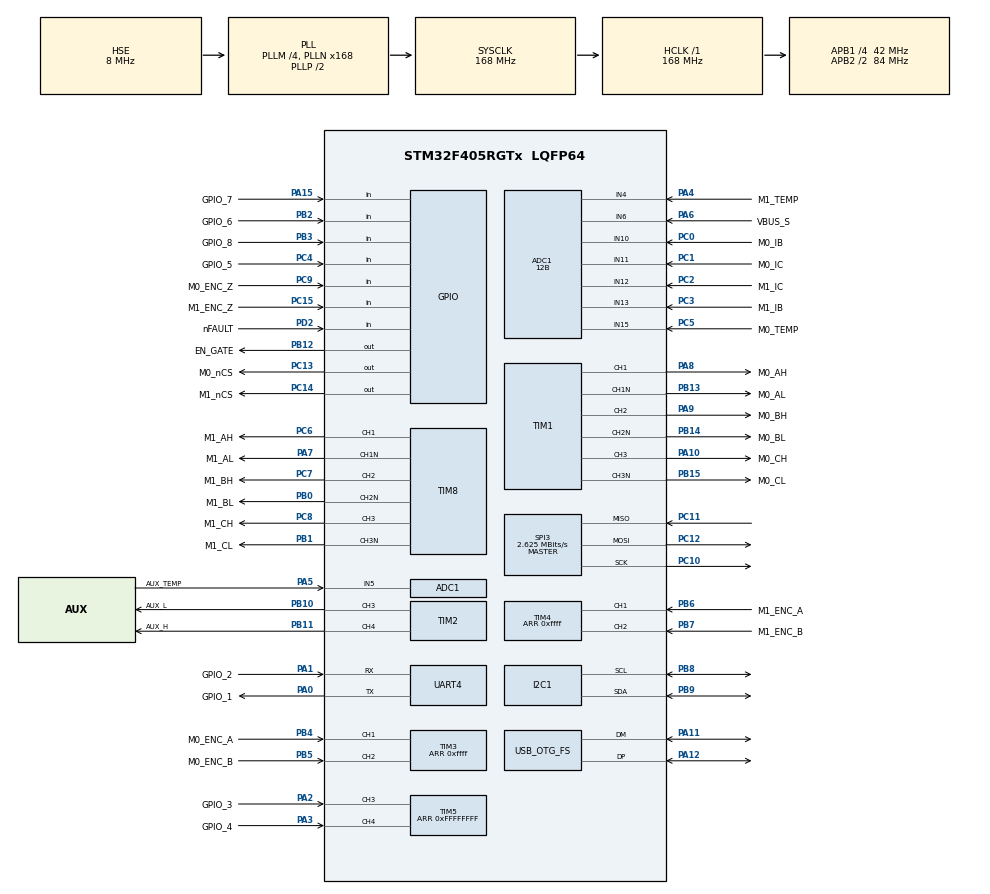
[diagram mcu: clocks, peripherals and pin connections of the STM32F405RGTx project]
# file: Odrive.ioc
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PH0-OSC_IN.Signal=RCC_OSC_IN
SPI3.Direction=SPI_DIRECTION_2LINES
SPI3.VirtualType=VM_MASTER
NVIC.I2C1_EV_IRQn=true\:5\:0\:false\:false\:true\:true\:true\:true
ADC3.ExternalTrigInjecConv=ADC_EXTERNALTRIGINJECCONV_T1_TRGO
ADC3.ExternalTrigInjecConvEdge=ADC_EXTERNALTRIGINJECCONVEDGE_RISING
NVIC.DMA1_Stream2_IRQn=true\:5\:0\:false\:false\:true\:true\:true\:true
PC12.Signal=SPI3_MOSI
USB_DEVICE.PID_CDC_FS=0x0D32
PB14.GPIO_Label=M0_BL
PC6.GPIO_Label=M1_AH
ADC2.InjectedOffset-1\#ChannelInjectedConversion=0
PA6.GPIO_Label=VBUS_S
PB6.GPIO_Label=M1_ENC_A
PB13.Signal=TIM1_CH1N
PC15-OSC32_OUT.GPIO_Label=M1_ENC_Z
TIM8.OffStateIDLEMode=TIM_OSSI_ENABLE
RCC.SYSCLKSource=RCC_SYSCLKSOURCE_PLLCLK
Dma.SPI3_RX.4.Instance=DMA1_Stream0
USB_OTG_FS.vbus_sensing_enable=DISABLE
Dma.I2C1_TX.6.PeriphInc=DMA_PINC_DISABLE
ADC3.Rank-7\#ChannelRegularConversion=1
NVIC.TIM5_IRQn=true\:5\:0\:false\:false\:true\:true\:true\:true
RCC.APB2TimFreq_Value=84000000
PB6.Signal=S_TIM4_CH1
PC7.Signal=S_TIM8_CH2
ADC1.InjNumberOfConversion=1
PC3.Signal=ADCx_IN13
ADC3.ScanConvMode=DISABLE
ADC2.EOCSelection=ADC_EOC_SINGLE_CONV
PA1.GPIO_PuPd=GPIO_NOPULL
Dma.UART4_TX.1.FIFOMode=DMA_FIFOMODE_DISABLE
NVIC.TIM8_TRG_COM_TIM14_IRQn=true\:0\:0\:false\:false\:true\:false\:false\:true
PB2.Signal=GPIO_Input
ADC1.ScanConvMode=DISABLE
TIM2.OCMode_PWM-PWM\ Generation3\ CH3=TIM_OCMODE_PWM2
PC13-ANTI_TAMP.Signal=GPIO_Output
SH.ADCx_IN15.1=ADC2_IN15,IN15
SH.ADCx_IN15.0=ADC1_IN15,IN15
PB12.GPIO_Label=EN_GATE
ADC3.ExternalTrigConv=ADC_EXTERNALTRIGCONV_T8_TRGO
ADC3.InjectedConvMode=None
Dma.ADC1.2.MemDataAlignment=DMA_MDATAALIGN_HALFWORD
PC4.GPIO_Label=GPIO_5
USB_DEVICE.MANUFACTURER_STRING-CDC_FS=ODrive Robotics
PB14.Mode=PWM Generation2 CH2 CH2N
PB9.Stacked=true
PB1.GPIO_Label=M1_CL
TIM1.DeadTime=TIM_1_8_DEADTIME_CLOCKS
ADC3.ContinuousConvMode=DISABLE
TIM1.OCMode_PWM-PWM\ Generation1\ CH1\ CH1N=TIM_OCMODE_PWM2
ADC2.EnableAnalogWatchDog=false
Dma.ADC1.2.Direction=DMA_PERIPH_TO_MEMORY
SH.S_TIM4_CH2.0=TIM4_CH2,Encoder_Interface
PA8.Signal=S_TIM1_CH1
ADC1.InjectedConvMode=None
Dma.UART4_RX.0.PeriphDataAlignment=DMA_PDATAALIGN_BYTE
TIM4.Period=0xffff
USB_DEVICE.VID-CDC_FS=0x1209
VP_FREERTOS_VS_CMSIS_V1.Mode=CMSIS_V1
VP_SYS_VS_tim14.Mode=TIM14
VP_TIM1_VS_ClockSourceINT.Mode=Internal
ADC1.SamplingTime-0\#ChannelRegularConversion=ADC_SAMPLETIME_3CYCLES
Mcu.Package=LQFP64
PB9.Signal=SharedStack_PB9
PB1.Signal=TIM8_CH3N
NVIC.TimeBase=TIM8_TRG_COM_TIM14_IRQn
SPI3.Mode=SPI_MODE_MASTER
SH.SharedStack_PB9.1=I2C1_SDA,I2C
SH.SharedStack_PB9.0=CAN1_TX
NVIC.TimeBaseIP=TIM14
TIM1.OCMode_PWM-PWM\ Generation3\ CH3\ CH3N=TIM_OCMODE_PWM2
PA10.Signal=S_TIM1_CH3
PC11.Mode=Full_Duplex_Master
ADC1.Rank-1\#ChannelInjectedConversion=1
ADC3.DMAContinuousRequests=DISABLE
RCC.APB2CLKDivider=RCC_HCLK_DIV2
SH.S_TIM4_CH1.0=TIM4_CH1,Encoder_Interface
Dma.SPI3_RX.4.Direction=DMA_PERIPH_TO_MEMORY
ADC3.ExternalTrigConvEdge=ADC_EXTERNALTRIGCONVEDGE_RISING
RCC.APB1TimFreq_Value=84000000
TIM5.ICFilter_CH4=15
TIM5.ICFilter_CH3=15
TIM1.OCMode_PWM-PWM\ Generation2\ CH2\ CH2N=TIM_OCMODE_PWM2
TIM1.Period=TIM_1_8_PERIOD_CLOCKS
PB13.Mode=PWM Generation1 CH1 CH1N
ADC2.ExternalTrigInjecConvEdge=ADC_EXTERNALTRIGINJECCONVEDGE_RISING
NVIC.DMA1_Stream6_IRQn=true\:5\:0\:false\:false\:true\:true\:false\:true
TIM2.OCMode_PWM-PWM\ Generation4\ CH4=TIM_OCMODE_PWM2
PA4.GPIO_Label=M1_TEMP
ADC1.EOCSelection=ADC_EOC_SINGLE_CONV
ADC2.ScanConvMode=DISABLE
Dma.ADC1.2.Mode=DMA_CIRCULAR
NVIC.UART4_IRQn=true\:5\:0\:false\:false\:true\:true\:true\:true
SH.S_TIM8_CH3.0=TIM8_CH3,PWM Generation3 CH3 CH3N
Dma.UART4_RX.0.MemInc=DMA_MINC_ENABLE
Dma.SPI3_TX.3.Mode=DMA_NORMAL
TIM8.OffStateRunMode=TIM_OSSR_ENABLE
SH.SharedStack_PB8.0=CAN1_RX
SH.SharedStack_PB8.1=I2C1_SCL,I2C
FREERTOS.Tasks01=defaultTask,0,128,StartDefaultTask,Default,NULL,Dynamic,NULL,NULL
ADC1.Rank-0\#ChannelRegularConversion=1
PD2.GPIO_PuPd=GPIO_PULLUP
TIM5.Channel-Input_Capture4_from_TI4=TIM_CHANNEL_4
SH.ADCx_IN6.0=ADC1_IN6,IN6
PC13-ANTI_TAMP.GPIO_Label=M0_nCS
SH.ADCx_IN6.1=ADC2_IN6,IN6
TIM1.CounterMode=TIM_COUNTERMODE_CENTERALIGNED3
PA9.GPIO_Label=M0_BH
TIM8.Channel-Output\ Compare4\ No\ Output=TIM_CHANNEL_4
FREERTOS.INCLUDE_vTaskDelayUntil=1
Dma.UART4_RX.0.Mode=DMA_CIRCULAR
FREERTOS.configCHECK_FOR_STACK_OVERFLOW=1
PC6.Signal=S_TIM8_CH1
PC2.Signal=ADCx_IN12
PB11.GPIO_Label=AUX_H
TIM4.IC2Filter=4
TIM1.Channel-PWM\ Generation1\ CH1\ CH1N=TIM_CHANNEL_1
ADC2.Channel-1\#ChannelInjectedConversion=ADC_CHANNEL_10
TIM2.OCPolarity_3=TIM_OCPOLARITY_LOW
ADC1.ExternalTrigConvEdge=ADC_EXTERNALTRIGCONVEDGE_NONE
PC0.Signal=ADCx_IN10
RCC.APB1CLKDivider=RCC_HCLK_DIV4
UART4.VirtualMode=Asynchronous
PC14-OSC32_IN.Signal=GPIO_Output
SH.S_TIM8_CH2.0=TIM8_CH2,PWM Generation2 CH2 CH2N
PC13-ANTI_TAMP.PinState=GPIO_PIN_SET
ADC3.Resolution=ADC_RESOLUTION_12B
PA0-WKUP.GPIO_Label=GPIO_1
PA0-WKUP.Signal=SharedStack_PA0
Dma.I2C1_RX.5.MemDataAlignment=DMA_MDATAALIGN_BYTE
TIM1.Channel-PWM\ Generation2\ CH2\ CH2N=TIM_CHANNEL_2
Dma.ADC1.2.MemInc=DMA_MINC_ENABLE
PA8.GPIO_Label=M0_AH
ADC2.ContinuousConvMode=DISABLE
Dma.UART4_TX.1.Instance=DMA1_Stream4
TIM3.IC2Filter=4
USB_DEVICE.PRODUCT_STRING_CDC_FS=ODrive v3.3
USB_DEVICE.APP_TX_DATA_SIZE-CDC_FS=64
VP_ARM.CMSIS_VS_CMSISJjDSP_1.7.0.Mode=CMSISJjDSP
PA9.Signal=S_TIM1_CH2
TIM1.Channel-PWM\ Generation3\ CH3\ CH3N=TIM_CHANNEL_3
ADC1.Channel-1\#ChannelInjectedConversion=ADC_CHANNEL_6
ADC3.NbrOfConversion=1
Dma.UART4_RX.0.PeriphInc=DMA_PINC_DISABLE
Dma.I2C1_TX.6.FIFOMode=DMA_FIFOMODE_DISABLE
SPI3.FirstBit=SPI_FIRSTBIT_MSB
PB10.Signal=S_TIM2_CH3
ARM.CMSIS.5.6.0.CMSISJjCORE=true
PB14.Signal=TIM1_CH2N
PA5.Signal=ADCx_IN5
Dma.SPI3_RX.4.FIFOMode=DMA_FIFOMODE_DISABLE
TIM3.IC1Filter=4
SH.S_TIM8_CH1.0=TIM8_CH1,PWM Generation1 CH1 CH1N
PC12.Mode=Full_Duplex_Master
Dma.I2C1_TX.6.Instance=DMA1_Stream6
VP_ARM.CMSIS_VS_CMSISJjCORE_5.3.0.Mode=CMSISJjCORE
ADC3.SamplingTime-8\#ChannelInjectedConversion=ADC_SAMPLETIME_3CYCLES
Dma.SPI3_TX.3.FIFOMode=DMA_FIFOMODE_DISABLE
TIM13.Period=(2 * TIM_1_8_PERIOD_CLOCKS * (TIM_1_8_RCR+1)) * (TIM_APB1_CLOCK_HZ / TIM_1_8_CLOCK_HZ)
Dma.UART4_RX.0.FIFOMode=DMA_FIFOMODE_DISABLE
TIM1.TIM_MasterOutputTrigger=TIM_TRGO_UPDATE
VP_TIM13_VS_ClockSourceINT.Mode=Enable_Timer
Dma.SPI3_TX.3.Direction=DMA_MEMORY_TO_PERIPH
Dma.SPI3_RX.4.PeriphInc=DMA_PINC_DISABLE
PB4.GPIO_Label=M0_ENC_A
PB15.GPIO_Label=M0_CL
ADC1.InjectedOffset-1\#ChannelInjectedConversion=0
SH.ADCx_IN4.1=ADC2_IN4,IN4
PA1.GPIO_Label=GPIO_2
SH.ADCx_IN4.0=ADC1_IN4,IN4
ADC1.DMAContinuousRequests=DISABLE
TIM2.Period=TIM_APB1_PERIOD_CLOCKS
PA13.Mode=Serial_Wire
TIM8.RepetitionCounter=TIM_1_8_RCR
ADC2.Resolution=ADC_RESOLUTION_12B
Dma.ADC1.2.Instance=DMA2_Stream0
ADC1.ExternalTrigConv=ADC_SOFTWARE_START
TIM8.Period=TIM_1_8_PERIOD_CLOCKS
PC7.GPIO_Label=M1_BH
RCC.APB2TimCLKDivider=1
PA4.Signal=ADCx_IN4
PB5.Signal=S_TIM3_CH2
ADC1.master=1
PA5.GPIO_Label=AUX_TEMP
ADC2.NbrOfConversionFlag=1
TIM8.TIM_MasterOutputTrigger=TIM_TRGO_UPDATE
PA11.Signal=USB_OTG_FS_DM
ProjectManager.HeapSize=0x3C00
PB1.Mode=PWM Generation3 CH3 CH3N
ADC3.EOCSelection=ADC_EOC_SINGLE_CONV
Dma.ADC1.2.FIFOMode=DMA_FIFOMODE_DISABLE
NVIC.TIM1_UP_TIM10_IRQn=true\:0\:0\:false\:false\:false\:false\:true\:true
NVIC.TIM8_UP_TIM13_IRQn=true\:0\:0\:false\:false\:false\:false\:true\:true
SH.ADCx_IN5.0=ADC1_IN5,IN5
SH.ADCx_IN5.1=ADC2_IN5,IN5
NVIC.PriorityGroup=NVIC_PRIORITYGROUP_4
Dma.UART4_RX.0.Instance=DMA1_Stream2
Dma.UART4_TX.1.MemDataAlignment=DMA_MDATAALIGN_BYTE
Dma.SPI3_TX.3.Instance=DMA1_Stream7
PC3.GPIO_Label=M1_IB
PA0-WKUP.GPIO_PuPd=GPIO_PULLDOWN
TIM2.Pulse-PWM\ Generation4\ CH4=TIM_APB1_PERIOD_CLOCKS+1
ADC3.Rank-8\#ChannelInjectedConversion=1
PD2.Signal=GPIO_Input
PB0.Signal=TIM8_CH2N
PC1.Signal=ADCx_IN11
PD2.GPIO_Label=nFAULT
TIM8.CounterMode=TIM_COUNTERMODE_CENTERALIGNED3
ADC3.EnableAnalogWatchDog=false
Dma.UART4_TX.1.Direction=DMA_MEMORY_TO_PERIPH
Mcu.Family=STM32F4
Dma.UART4_TX.1.PeriphDataAlignment=DMA_PDATAALIGN_BYTE
ADC2.ExternalTrigConv=ADC_EXTERNALTRIGCONV_T8_TRGO
USB_DEVICE.CLASS_NAME_FS=CDC
RCC.CortexFreq_Value=168000000
Dma.SPI3_TX.3.MemDataAlignment=DMA_MDATAALIGN_HALFWORD
ADC1.ContinuousConvMode=DISABLE
ADC2.Channel-0\#ChannelRegularConversion=ADC_CHANNEL_13
TIM1.RepetitionCounter=TIM_1_8_RCR
ADC3.SamplingTime-7\#ChannelRegularConversion=ADC_SAMPLETIME_3CYCLES
ADC2.InjectedConvMode=None
PC10.Signal=SPI3_SCK
Dma.I2C1_TX.6.MemDataAlignment=DMA_MDATAALIGN_BYTE
TIM4.EncoderMode=TIM_ENCODERMODE_TI12
TIM3.EncoderMode=TIM_ENCODERMODE_TI12
PC0.GPIO_Label=M0_IB
PA11.Mode=Device_Only
PB0.GPIO_Label=M1_BL
USB_DEVICE.VirtualMode-CDC_FS=Cdc
PB13.GPIO_Label=M0_AL
PB11.Signal=S_TIM2_CH4
NVIC.DMA1_Stream4_IRQn=true\:5\:0\:false\:false\:true\:true\:false\:true
PB15.Signal=TIM1_CH3N
ADC2.DiscontinuousConvMode=DISABLE
ProjectManager.StackSize=0x800
NVIC.ADC_IRQn=true\:5\:0\:false\:false\:true\:true\:true\:true
PA15.GPIO_Label=GPIO_7
Dma.SPI3_RX.4.MemInc=DMA_MINC_ENABLE
PA12.Signal=USB_OTG_FS_DP
Mcu.UserConstants=TIM_1_8_CLOCK_HZ,168000000;TIM_1_8_PERIOD_CLOCKS,3500;TIM_1_8_DEADTIME_CLOCKS,20;TIM_APB1_CLOCK_HZ,84000000;TIM_APB1_PERIOD_CLOCKS,4096;TIM_APB1_DEADTIME_CLOCKS,40;TIM_1_8_RCR,2
Dma.SPI3_RX.4.MemDataAlignment=DMA_MDATAALIGN_HALFWORD
ADC2.DMAContinuousRequests=DISABLE
ADC2.Rank-1\#ChannelInjectedConversion=1
TIM8.Channel-PWM\ Generation2\ CH2\ CH2N=TIM_CHANNEL_2
Dma.I2C1_RX.5.MemInc=DMA_MINC_ENABLE
RCC.HCLKFreq_Value=168000000
ADC1.Resolution=ADC_RESOLUTION_12B
USB_DEVICE.SERIALNUMBER_STRING_CDC_FS=000000000001
TIM3.Period=0xffff
SH.S_TIM5_CH3.0=TIM5_CH3,Input_Capture3_from_TI3
ADC3.InjectedOffset-8\#ChannelInjectedConversion=0
Dma.I2C1_RX.5.Priority=DMA_PRIORITY_LOW
NVIC.DMA2_Stream0_IRQn=true\:5\:0\:false\:false\:false\:true\:false\:true
PB8.Stacked=true
RCC.AHBFreq_Value=168000000
PH0-OSC_IN.Mode=HSE-External-Oscillator
SPI3.DataSize=SPI_DATASIZE_16BIT
TIM8.Channel-PWM\ Generation1\ CH1\ CH1N=TIM_CHANNEL_1
ADC1.Channel-0\#ChannelRegularConversion=ADC_CHANNEL_6
ADC1.ExternalTrigInjecConv=ADC_EXTERNALTRIGINJECCONV_T1_TRGO
RCC.HSE_VALUE=8000000
Dma.SPI3_TX.3.PeriphInc=DMA_PINC_DISABLE
ADC3.InjNumberOfConversion=1
Dma.UART4_TX.1.Mode=DMA_NORMAL
Dma.UART4_RX.0.MemDataAlignment=DMA_MDATAALIGN_BYTE
Dma.SPI3_TX.3.Priority=DMA_PRIORITY_MEDIUM
Dma.SPI3_RX.4.Mode=DMA_NORMAL
PA14.Mode=Serial_Wire
Dma.I2C1_TX.6.MemInc=DMA_MINC_ENABLE
PA0-WKUP.Stacked=true
PA10.GPIO_Label=M0_CH
ADC3.DataAlign=ADC_DATAALIGN_RIGHT
PB7.Signal=S_TIM4_CH2
SH.S_TIM3_CH1.0=TIM3_CH1,Encoder_Interface
PA1.Stacked=true
FREERTOS.configTOTAL_HEAP_SIZE=65536
SH.SharedStack_PA1.0=GPIO_Input+0
NVIC.DMA1_Stream7_IRQn=true\:5\:0\:false\:false\:true\:false\:false\:true
USB_DEVICE.APP_RX_DATA_SIZE-CDC_FS=64
SH.SharedStack_PA1.1=UART4_RX,Asynchronous
PH1-OSC_OUT.Mode=HSE-External-Oscillator
PB7.GPIO_Label=M1_ENC_B
TIM8.OCMode_PWM-PWM\ Generation1\ CH1\ CH1N=TIM_OCMODE_PWM2
PA6.Signal=ADCx_IN6
TIM8.Channel-PWM\ Generation3\ CH3\ CH3N=TIM_CHANNEL_3
PC14-OSC32_IN.PinState=GPIO_PIN_SET
ADC1.SamplingTime-1\#ChannelInjectedConversion=ADC_SAMPLETIME_3CYCLES
NVIC.OTG_FS_IRQn=true\:5\:0\:false\:false\:true\:true\:true\:true
Dma.UART4_TX.1.MemInc=DMA_MINC_ENABLE
TIM4.IC1Polarity=TIM_ICPOLARITY_RISING
PA2.GPIO_Label=GPIO_3
Dma.UART4_TX.1.PeriphInc=DMA_PINC_DISABLE
Dma.I2C1_RX.5.Instance=DMA1_Stream5
USB_OTG_FS.VirtualMode=Device_Only
PA15.Signal=GPIO_Input
TIM8.OCMode_PWM-PWM\ Generation3\ CH3\ CH3N=TIM_OCMODE_PWM2
ADC2.SamplingTime-0\#ChannelRegularConversion=ADC_SAMPLETIME_3CYCLES
NVIC.SPI3_IRQn=true\:5\:0\:false\:false\:true\:true\:true\:true
TIM4.IC1Filter=4
ADC3.ClockPrescaler=ADC_CLOCK_SYNC_PCLK_DIV4
Dma.I2C1_RX.5.FIFOMode=DMA_FIFOMODE_DISABLE
PB5.GPIO_Label=M0_ENC_B
ADC2.NbrOfConversion=1
Dma.Request2=ADC1
Dma.Request1=UART4_TX
Dma.Request4=SPI3_RX
Dma.Request3=SPI3_TX
Dma.Request6=I2C1_TX
Dma.Request5=I2C1_RX
NVIC.DMA1_Stream0_IRQn=true\:5\:0\:false\:false\:true\:true\:false\:true
PC14-OSC32_IN.GPIO_Label=M1_nCS
PC5.Signal=ADCx_IN15
ADC2.Rank-0\#ChannelRegularConversion=1
TIM8.OCMode_PWM-PWM\ Generation2\ CH2\ CH2N=TIM_OCMODE_PWM2
Dma.Request0=UART4_RX
PC2.GPIO_Label=M1_IC
SH.SharedStack_PA0.1=UART4_TX,Asynchronous
SH.SharedStack_PA0.0=GPIO_EXTI0+0
Dma.I2C1_RX.5.Direction=DMA_PERIPH_TO_MEMORY
PB4.Signal=S_TIM3_CH1
PA3.Signal=S_TIM5_CH4
ADC1.ExternalTrigInjecConvEdge=ADC_EXTERNALTRIGINJECCONVEDGE_RISING
Dma.I2C1_TX.6.Mode=DMA_NORMAL
Dma.I2C1_TX.6.Priority=DMA_PRIORITY_LOW
PB3.GPIO_Label=GPIO_8
ADC3.Channel-7\#ChannelRegularConversion=ADC_CHANNEL_12
Dma.SPI3_TX.3.MemInc=DMA_MINC_ENABLE
SH.ADCx_IN13.2=ADC3_IN13,IN13
ADC2.ClockPrescaler=ADC_CLOCK_SYNC_PCLK_DIV4
SH.ADCx_IN13.1=ADC2_IN13,IN13
Dma.I2C1_TX.6.Direction=DMA_MEMORY_TO_PERIPH
ADC3.DiscontinuousConvMode=DISABLE
TIM2.Channel-PWM\ Generation4\ CH4=TIM_CHANNEL_4
SH.ADCx_IN13.0=ADC1_IN13,IN13
ADC2.ExternalTrigInjecConv=ADC_EXTERNALTRIGINJECCONV_T1_TRGO
TIM1.OffStateIDLEMode=TIM_OSSI_ENABLE
PA7.Mode=PWM Generation1 CH1 CH1N
TIM2.CounterMode=TIM_COUNTERMODE_CENTERALIGNED3
PC9.GPIO_Label=M0_ENC_Z
USB_DEVICE.VirtualModeFS=Cdc_FS
ADC3.Channel-8\#ChannelInjectedConversion=ADC_CHANNEL_11
PC11.Signal=SPI3_MISO
Dma.ADC1.2.PeriphDataAlignment=DMA_PDATAALIGN_HALFWORD
PC8.Signal=S_TIM8_CH3
PC4.Signal=GPIO_Input
PC10.Mode=Full_Duplex_Master
ADC1.DiscontinuousConvMode=DISABLE
ARM.CMSIS.5.6.0.CMSISJjDSP=Source
TIM5.ICPolarity_CH4=TIM_INPUTCHANNELPOLARITY_BOTHEDGE
TIM5.ICPolarity_CH3=TIM_INPUTCHANNELPOLARITY_BOTHEDGE
FREERTOS.INCLUDE_uxTaskGetStackHighWaterMark=1
SH.ADCx_IN12.2=ADC3_IN12,IN12
PC8.GPIO_Label=M1_CH
PA13.Signal=SYS_JTMS-SWDIO
FREERTOS.configUSE_IDLE_HOOK=1
SH.ADCx_IN12.1=ADC2_IN12,IN12
SH.ADCx_IN12.0=ADC1_IN12,IN12
SH.S_TIM1_CH1.0=TIM1_CH1,PWM Generation1 CH1 CH1N
Dma.UART4_RX.0.Direction=DMA_PERIPH_TO_MEMORY
FREERTOS.configRECORD_STACK_HIGH_ADDRESS=1
ProjectManager.TargetToolchain=Makefile
PB10.GPIO_Label=AUX_L
NVIC.DMA1_Stream5_IRQn=true\:5\:0\:false\:false\:true\:true\:false\:true
VP_USB_DEVICE_VS_USB_DEVICE_CDC_FS.Mode=CDC_FS
RCC.LSE_VALUE=32768
PC15-OSC32_OUT.Signal=GPIO_Input
PA1.Signal=SharedStack_PA1
TIM3.IC2Polarity=TIM_ICPOLARITY_RISING
TIM4.IC2Polarity=TIM_ICPOLARITY_RISING
SH.S_TIM3_CH2.0=TIM3_CH2,Encoder_Interface
ADC2.SamplingTime-1\#ChannelInjectedConversion=ADC_SAMPLETIME_3CYCLES
PB0.Mode=PWM Generation2 CH2 CH2N
TIM8.DeadTime=TIM_1_8_DEADTIME_CLOCKS
board=Odrive
SPI3.CLKPhase=SPI_PHASE_2EDGE
RCC.VCOOutputFreq_Value=336000000
TIM1.OCNPolarity_1=TIM_OCNPOLARITY_HIGH
PB15.Mode=PWM Generation3 CH3 CH3N
VP_TIM1_VS_no_output4.Mode=Output Compare4 No Output
ADC1.EnableAnalogWatchDog=false
Dma.UART4_RX.0.Priority=DMA_PRIORITY_LOW
ADC2.DataAlign=ADC_DATAALIGN_RIGHT
RCC.APB2Freq_Value=84000000
SH.ADCx_IN11.2=ADC3_IN11,IN11
SPI3.CalculateBaudRate=2.625 MBits/s
TIM1.OCNPolarity_3=TIM_OCNPOLARITY_HIGH
SH.ADCx_IN11.1=ADC2_IN11,IN11
TIM1.OCNPolarity_2=TIM_OCNPOLARITY_HIGH
SH.ADCx_IN11.0=ADC1_IN11,IN11
SH.S_TIM1_CH2.0=TIM1_CH2,PWM Generation2 CH2 CH2N
SH.S_TIM2_CH3.0=TIM2_CH3,PWM Generation3 CH3
SPI3.BaudRatePrescaler=SPI_BAUDRATEPRESCALER_16
PC1.GPIO_Label=M0_IC
Dma.SPI3_TX.3.PeriphDataAlignment=DMA_PDATAALIGN_HALFWORD
TIM2.Channel-PWM\ Generation3\ CH3=TIM_CHANNEL_3
PH1-OSC_OUT.Signal=RCC_OSC_OUT
SH.S_TIM5_CH4.0=TIM5_CH4,Input_Capture4_from_TI4
TIM1.OffStateRunMode=TIM_OSSR_ENABLE
ADC1.NbrOfConversion=1
Mcu.Name=STM32F405RGTx
PA2.Signal=S_TIM5_CH3
Dma.I2C1_TX.6.PeriphDataAlignment=DMA_PDATAALIGN_BYTE
RCC.48MHZClocksFreq_Value=48000000
PB3.Signal=GPIO_Input
RCC.SYSCLKFreq_VALUE=168000000
Dma.ADC1.2.Priority=DMA_PRIORITY_LOW
PA7.GPIO_Label=M1_AL
PA12.Mode=Device_Only
Dma.ADC1.2.PeriphInc=DMA_PINC_DISABLE
Dma.I2C1_RX.5.Mode=DMA_CIRCULAR
PC5.GPIO_Label=M0_TEMP
TIM3.IC1Polarity=TIM_ICPOLARITY_RISING
Dma.SPI3_RX.4.PeriphDataAlignment=DMA_PDATAALIGN_HALFWORD
SH.ADCx_IN10.2=ADC3_IN10,IN10
SH.ADCx_IN10.1=ADC2_IN10,IN10
PA14.Signal=SYS_JTCK-SWCLK
SH.ADCx_IN10.0=ADC1_IN10,IN10
PB2.GPIO_Label=GPIO_6
Dma.UART4_TX.1.Priority=DMA_PRIORITY_LOW
SH.S_TIM2_CH4.0=TIM2_CH4,PWM Generation4 CH4
SH.S_TIM1_CH3.0=TIM1_CH3,PWM Generation3 CH3 CH3N
TIM1.Channel-Output\ Compare4\ No\ Output=TIM_CHANNEL_4
RCC.HSI_VALUE=16000000
ADC2.ExternalTrigConvEdge=ADC_EXTERNALTRIGCONVEDGE_RISING
RCC.PLLQ=7
ADC1.NbrOfConversionFlag=1
RCC.PLLM=4
RCC.PLLN=168
PB8.Signal=SharedStack_PB8
TIM5.Period=0xFFFFFFFF
Dma.I2C1_RX.5.PeriphDataAlignment=DMA_PDATAALIGN_BYTE
PC9.Signal=GPIO_Input
Dma.SPI3_RX.4.Priority=DMA_PRIORITY_MEDIUM
ADC1.DataAlign=ADC_DATAALIGN_RIGHT
RCC.APB1Freq_Value=42000000
ADC3.NbrOfConversionFlag=1
Dma.I2C1_RX.5.PeriphInc=DMA_PINC_DISABLE
ADC1.ClockPrescaler=ADC_CLOCK_SYNC_PCLK_DIV4
ADC2.InjNumberOfConversion=1
PB12.Signal=GPIO_Output
TIM5.Channel-Input_Capture3_from_TI3=TIM_CHANNEL_3
PA3.GPIO_Label=GPIO_4
PA7.Signal=TIM8_CH1N

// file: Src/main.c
/* USER CODE BEGIN Header */
/**
  ******************************************************************************
  * @file           : main.c
  * @brief          : Main program body
  ******************************************************************************
  * @attention
  *
  * <h2><center>&copy; Copyright (c) 2020 STMicroelectronics.
  * All rights reserved.</center></h2>
  *
  * This software component is licensed by ST under Ultimate Liberty license
  * SLA0044, the "License"; You may not use this file except in compliance with
  * the License. You may obtain a copy of the License at:
  *                             www.st.com/SLA0044
  *
  ******************************************************************************
  */
/* USER CODE END Header */

#include "main.h"
#include "cmsis_os.h"
#include "adc.h"
#include "dma.h"
#include "i2c.h"
#include "spi.h"
#include "tim.h"
#include "usart.h"
#include "usb_device.h"
#include "gpio.h"

/* USER CODE BEGIN Includes */
#include <MotorControl/odrive_main.h>
#include "freertos_vars.h"
#include "i2c.h"
/* USER CODE END Includes */

/* USER CODE BEGIN PV */
/* Private variables ---------------------------------------------------------*/

/* USER CODE END PV */

void SystemClock_Config(void);
void MX_FREERTOS_Init(void);
/* USER CODE BEGIN PFP */
/* Private function prototypes -----------------------------------------------*/

/* USER CODE END PFP */

/* USER CODE BEGIN 0 */

uint32_t _reboot_cookie __attribute__ ((section (".noinit")));
extern char _estack; // provided by the linker script

// Gets called from the startup assembly code
void early_start_checks(void) {
  if(_reboot_cookie == 0xDEADFE75) {
    /* The STM DFU bootloader enables internal pull-up resistors on PB10 (AUX_H)
    * and PB11 (AUX_L), thereby causing shoot-through on the brake resistor
    * FETs and obliterating them unless external 3.3k pull-down resistors are
    * present. Pull-downs are only present on ODrive 3.5 or newer.
    * On older boards we disable DFU by default but if the user insists
    * there's only one thing left that might save it: time.
    * The brake resistor gate driver needs a certain 10V supply (GVDD) to
    * make it work. This voltage is supplied by the motor gate drivers which get
    * disabled at system reset. So over time GVDD voltage _should_ below
    * dangerous levels. This is completely handwavy and should not be relied on
    * so you are on your own on if you ignore this warning.
    *
    * This loop takes 5 cycles per iteration and at this point the system runs
    * on the internal 16MHz RC oscillator so the delay is about 2 seconds.
    */
    for (size_t i = 0; i < (16000000UL / 5UL * 2UL); ++i) {
      __NOP();
    }
    _reboot_cookie = 0xDEADBEEF;
  }

  /* We could jump to the bootloader directly on demand without rebooting
  but that requires us to reset several peripherals and interrupts for it
  to function correctly. Therefore it's easier to just reset the entire chip. */
  if(_reboot_cookie == 0xDEADBEEF) {
    _reboot_cookie = 0xCAFEFEED;  //Reset bootloader trigger
    __set_MSP((uintptr_t)&_estack);
    // http://www.st.com/content/ccc/resource/technical/document/application_note/6a/17/92/02/58/98/45/0c/CD00264379.pdf/files/CD00264379.pdf
    void (*builtin_bootloader)(void) = (void (*)(void))(*((uint32_t *)0x1FFF0004));
    builtin_bootloader();
  }

  /* The bootloader might fail to properly clean up after itself,
  so if we're not sure that the system is in a clean state we
  just reset it again */
  if(_reboot_cookie != 42) {
    _reboot_cookie = 42;
    NVIC_SystemReset();
  }
}

/* USER CODE END 0 */

int main(void)
{
  /* USER CODE BEGIN 1 */

  // This procedure of building a USB serial number should be identical
  // to the way the STM's built-in USB bootloader does it. This means
  // that the device will have the same serial number in normal and DFU mode.
  uint32_t uuid0 = *(uint32_t *)(UID_BASE + 0);
  uint32_t uuid1 = *(uint32_t *)(UID_BASE + 4);
  uint32_t uuid2 = *(uint32_t *)(UID_BASE + 8);
  uint32_t uuid_mixed_part = uuid0 + uuid2;
  serial_number = ((uint64_t)uuid_mixed_part << 16) | (uint64_t)(uuid1 >> 16);

  uint64_t val = serial_number;
  for (size_t i = 0; i < 12; ++i) {
    serial_number_str[i] = "0123456789ABCDEF"[(val >> (48-4)) & 0xf];
    val <<= 4;
  }
  serial_number_str[12] = 0;

  /* USER CODE END 1 */

  /* MCU Configuration--------------------------------------------------------*/

  /* Reset of all peripherals, Initializes the Flash interface and the Systick. */
  HAL_Init();

  /* Configure the system clock */
  SystemClock_Config();

  /* Initialize all configured peripherals */
  MX_GPIO_Init();
  MX_DMA_Init();
  MX_ADC1_Init();
  MX_ADC2_Init();
  MX_TIM1_Init();
  MX_TIM8_Init();
  MX_TIM3_Init();
  MX_TIM4_Init();
  MX_SPI3_Init();
  MX_ADC3_Init();
  MX_TIM2_Init();
  MX_UART4_Init();
  MX_TIM5_Init();
  MX_TIM13_Init();
  MX_I2C1_Init();
  /* USER CODE BEGIN 2 */

  //Required to use OC4 for ADC triggering.
  OC4_PWM_Override(&htim1);
  OC4_PWM_Override(&htim8);

  /* USER CODE END 2 */

  /* Call init function for freertos objects (in freertos.c) */
  MX_FREERTOS_Init();
  /* Start scheduler */
  osKernelStart();

  /* We should never get here as control is now taken by the scheduler */
  /* Infinite loop */
  while (1)
  {

  }
}

void SystemClock_Config(void)
{
  RCC_OscInitTypeDef RCC_OscInitStruct = {0};
  RCC_ClkInitTypeDef RCC_ClkInitStruct = {0};

  /** Configure the main internal regulator output voltage
  */
  __HAL_RCC_PWR_CLK_ENABLE();
  __HAL_PWR_VOLTAGESCALING_CONFIG(PWR_REGULATOR_VOLTAGE_SCALE1);
  /** Initializes the CPU, AHB and APB busses clocks
  */
  RCC_OscInitStruct.OscillatorType = RCC_OSCILLATORTYPE_LSI|RCC_OSCILLATORTYPE_HSE;
  RCC_OscInitStruct.HSEState = RCC_HSE_ON;
  RCC_OscInitStruct.LSIState = RCC_LSI_ON;
  RCC_OscInitStruct.PLL.PLLState = RCC_PLL_ON;
  RCC_OscInitStruct.PLL.PLLSource = RCC_PLLSOURCE_HSE;
  RCC_OscInitStruct.PLL.PLLM = 4;
  RCC_OscInitStruct.PLL.PLLN = 168;
  RCC_OscInitStruct.PLL.PLLP = RCC_PLLP_DIV2;
  RCC_OscInitStruct.PLL.PLLQ = 7;
  if (HAL_RCC_OscConfig(&RCC_OscInitStruct) != HAL_OK)
  {
    Error_Handler();
  }
  /** Initializes the CPU, AHB and APB busses clocks
  */
  RCC_ClkInitStruct.ClockType = RCC_CLOCKTYPE_HCLK|RCC_CLOCKTYPE_SYSCLK
                              |RCC_CLOCKTYPE_PCLK1|RCC_CLOCKTYPE_PCLK2;
  RCC_ClkInitStruct.SYSCLKSource = RCC_SYSCLKSOURCE_PLLCLK;
  RCC_ClkInitStruct.AHBCLKDivider = RCC_SYSCLK_DIV1;
  RCC_ClkInitStruct.APB1CLKDivider = RCC_HCLK_DIV4;
  RCC_ClkInitStruct.APB2CLKDivider = RCC_HCLK_DIV2;

  if (HAL_RCC_ClockConfig(&RCC_ClkInitStruct, FLASH_LATENCY_5) != HAL_OK)
  {
    Error_Handler();
  }
}

 /**
  * @brief  Period elapsed callback in non blocking mode
  * @note   This function is called  when TIM14 interrupt took place, inside
  * HAL_TIM_IRQHandler(). It makes a direct call to HAL_IncTick() to increment
  * a global variable "uwTick" used as application time base.
  * @param  htim : TIM handle
  * @retval None
  */
void HAL_TIM_PeriodElapsedCallback(TIM_HandleTypeDef *htim)
{
  if (htim->Instance == TIM14) {
    HAL_IncTick();
  }
}

void Error_Handler(void)
{
  while(1)
  {
  }
}

/************************ (C) COPYRIGHT STMicroelectronics *****END OF FILE****/

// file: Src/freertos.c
/* USER CODE BEGIN Header */
/**
  ******************************************************************************
  * File Name          : freertos.c
  * Description        : Code for freertos applications
  ******************************************************************************
  * This notice applies to any and all portions of this file
  * that are not between comment pairs USER CODE BEGIN and
  * USER CODE END. Other portions of this file, whether
  * inserted by the user or by software development tools
  * are owned by their respective copyright owners.
  *
  * Copyright (c) 2018 STMicroelectronics International N.V.
  * All rights reserved.
  *
  * Redistribution and use in source and binary forms, with or without
  * modification, are permitted, provided that the following conditions are met:
  *
  * 1. Redistribution of source code must retain the above copyright notice,
  *    this list of conditions and the following disclaimer.
  * 2. Redistributions in binary form must reproduce the above copyright notice,
  *    this list of conditions and the following disclaimer in the documentation
  *    and/or other materials provided with the distribution.
  * 3. Neither the name of STMicroelectronics nor the names of other
  *    contributors to this software may be used to endorse or promote products
  *    derived from this software without specific written permission.
  * 4. This software, including modifications and/or derivative works of this
  *    software, must execute solely and exclusively on microcontroller or
  *    microprocessor devices manufactured by or for STMicroelectronics.
  * 5. Redistribution and use of this software other than as permitted under
  *    this license is void and will automatically terminate your rights under
  *    this license.
  *
  * THIS SOFTWARE IS PROVIDED BY STMICROELECTRONICS AND CONTRIBUTORS "AS IS"
  * AND ANY EXPRESS, IMPLIED OR STATUTORY WARRANTIES, INCLUDING, BUT NOT
  * LIMITED TO, THE IMPLIED WARRANTIES OF MERCHANTABILITY, FITNESS FOR A
  * PARTICULAR PURPOSE AND NON-INFRINGEMENT OF THIRD PARTY INTELLECTUAL PROPERTY
  * RIGHTS ARE DISCLAIMED TO THE FULLEST EXTENT PERMITTED BY LAW. IN NO EVENT
  * SHALL STMICROELECTRONICS OR CONTRIBUTORS BE LIABLE FOR ANY DIRECT, INDIRECT,
  * INCIDENTAL, SPECIAL, EXEMPLARY, OR CONSEQUENTIAL DAMAGES (INCLUDING, BUT NOT
  * LIMITED TO, PROCUREMENT OF SUBSTITUTE GOODS OR SERVICES; LOSS OF USE, DATA,
  * OR PROFITS; OR BUSINESS INTERRUPTION) HOWEVER CAUSED AND ON ANY THEORY OF
  * LIABILITY, WHETHER IN CONTRACT, STRICT LIABILITY, OR TORT (INCLUDING
  * NEGLIGENCE OR OTHERWISE) ARISING IN ANY WAY OUT OF THE USE OF THIS SOFTWARE,
  * EVEN IF ADVISED OF THE POSSIBILITY OF SUCH DAMAGE.
  *
  ******************************************************************************
  */
/* USER CODE END Header */

#include "FreeRTOS.h"
#include "task.h"
#include "main.h"
#include "cmsis_os.h"

/* USER CODE BEGIN Includes */
#include "freertos_vars.h"
#include "usb_device.h"
extern PCD_HandleTypeDef hpcd_USB_OTG_FS;
int odrive_main(void);
int load_configuration(void);
/* USER CODE END Includes */

/* USER CODE BEGIN Variables */
// List of semaphores
osSemaphoreId sem_usb_irq;
osSemaphoreId sem_uart_dma;
osSemaphoreId sem_usb_rx;
osSemaphoreId sem_usb_tx;

osThreadId usb_irq_thread;

// Place FreeRTOS heap in core coupled memory for better performance
__attribute__((section(".ccmram")))
uint8_t ucHeap[configTOTAL_HEAP_SIZE];
/* USER CODE END Variables */
osThreadId defaultTaskHandle;

void StartDefaultTask(void const * argument);

extern void MX_USB_DEVICE_Init(void);
void MX_FREERTOS_Init(void); /* (MISRA C 2004 rule 8.1) */

/* GetIdleTaskMemory prototype (linked to static allocation support) */
void vApplicationGetIdleTaskMemory( StaticTask_t **ppxIdleTaskTCBBuffer, StackType_t **ppxIdleTaskStackBuffer, uint32_t *pulIdleTaskStackSize );

/* Hook prototypes */
void vApplicationIdleHook(void);
void vApplicationStackOverflowHook(xTaskHandle xTask, signed char *pcTaskName);

/* USER CODE BEGIN 2 */
__weak void vApplicationIdleHook( void )
{
   /* vApplicationIdleHook() will only be called if configUSE_IDLE_HOOK is set
   to 1 in FreeRTOSConfig.h. It will be called on each iteration of the idle
   task. It is essential that code added to this hook function never attempts
   to block in any way (for example, call xQueueReceive() with a block time
   specified, or call vTaskDelay()). If the application makes use of the
   vTaskDelete() API function (as this demo application does) then it is also
   important that vApplicationIdleHook() is permitted to return to its calling
   function, because it is the responsibility of the idle task to clean up
   memory allocated by the kernel to any task that has since been deleted. */
}
/* USER CODE END 2 */

/* USER CODE BEGIN 4 */
__weak void vApplicationStackOverflowHook(xTaskHandle xTask, signed char *pcTaskName)
{
   /* Run time stack overflow checking is performed if
   configCHECK_FOR_STACK_OVERFLOW is defined to 1 or 2. This hook function is
   called if a stack overflow is detected. */
}

void usb_deferred_interrupt_thread(void const * ctx) {
    (void) ctx; // unused parameter

    for (;;) {
        // Wait for signalling from USB interrupt (OTG_FS_IRQHandler)
        osStatus semaphore_status = osSemaphoreWait(sem_usb_irq, osWaitForever);
        if (semaphore_status == osOK) {
            // We have a new incoming USB transmission: handle it
            HAL_PCD_IRQHandler(&hpcd_USB_OTG_FS);
            // Let the irq (OTG_FS_IRQHandler) fire again.
            HAL_NVIC_EnableIRQ(OTG_FS_IRQn);
        }
    }
}

void init_deferred_interrupts(void) {
    // Start USB interrupt handler thread
    osThreadDef(task_usb_pump, usb_deferred_interrupt_thread, osPriorityAboveNormal, 0, 512);
    usb_irq_thread = osThreadCreate(osThread(task_usb_pump), NULL);
}

/* USER CODE END 4 */

/* USER CODE BEGIN GET_IDLE_TASK_MEMORY */
static StaticTask_t xIdleTaskTCBBuffer;
static StackType_t xIdleStack[configMINIMAL_STACK_SIZE];

void vApplicationGetIdleTaskMemory( StaticTask_t **ppxIdleTaskTCBBuffer, StackType_t **ppxIdleTaskStackBuffer, uint32_t *pulIdleTaskStackSize )
{
  *ppxIdleTaskTCBBuffer = &xIdleTaskTCBBuffer;
  *ppxIdleTaskStackBuffer = &xIdleStack[0];
  *pulIdleTaskStackSize = configMINIMAL_STACK_SIZE;
  /* place for user code */
}
/* USER CODE END GET_IDLE_TASK_MEMORY */

void MX_FREERTOS_Init(void) {

  /* USER CODE BEGIN RTOS_SEMAPHORES */
  // Init usb irq binary semaphore, and start with no tokens by removing the starting one.
  osSemaphoreDef(sem_usb_irq);
  sem_usb_irq = osSemaphoreCreate(osSemaphore(sem_usb_irq), 1);
  osSemaphoreWait(sem_usb_irq, 0);

  // Create a semaphore for UART DMA and remove a token
  osSemaphoreDef(sem_uart_dma);
  sem_uart_dma = osSemaphoreCreate(osSemaphore(sem_uart_dma), 1);

  // Create a semaphore for USB RX
  osSemaphoreDef(sem_usb_rx);
  sem_usb_rx = osSemaphoreCreate(osSemaphore(sem_usb_rx), 1);
  osSemaphoreWait(sem_usb_rx, 0);  // Remove a token.

  // Create a semaphore for USB TX
  osSemaphoreDef(sem_usb_tx);
  sem_usb_tx = osSemaphoreCreate(osSemaphore(sem_usb_tx), 1);

  init_deferred_interrupts();

  // Load persistent configuration (or defaults)
  load_configuration();
  /* USER CODE END RTOS_SEMAPHORES */

  /* Create the thread(s) */
  /* definition and creation of defaultTask */
  osThreadDef(defaultTask, StartDefaultTask, osPriorityNormal, 0, 128);
  defaultTaskHandle = osThreadCreate(osThread(defaultTask), NULL);

}

void StartDefaultTask(void const * argument)
{
  /* init code for USB_DEVICE */
  MX_USB_DEVICE_Init();
  /* USER CODE BEGIN StartDefaultTask */

  odrive_main();

  //If we get to here, then the default task is done.
  vTaskDelete(defaultTaskHandle);

  /* USER CODE END StartDefaultTask */
}

/************************ (C) COPYRIGHT STMicroelectronics *****END OF FILE****/
